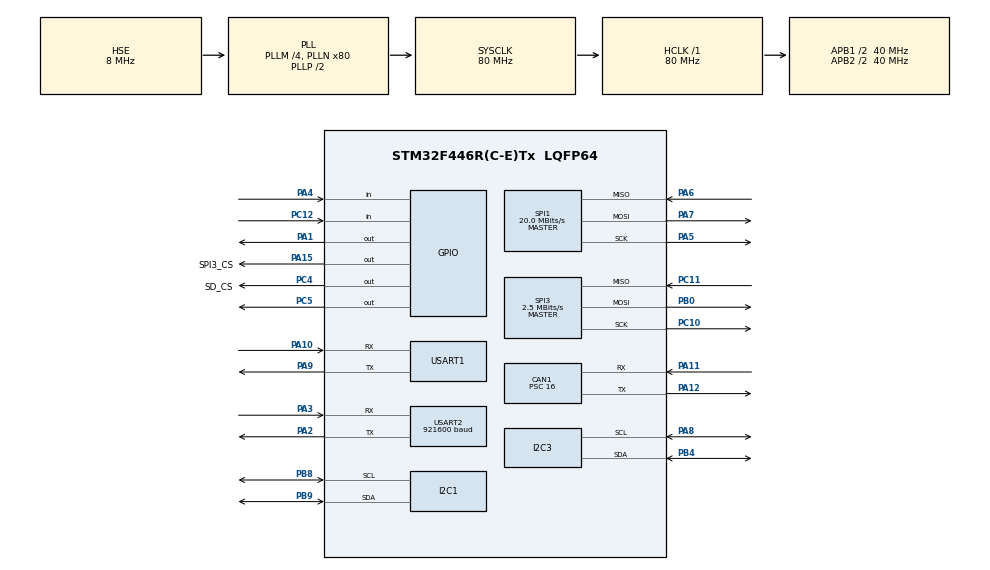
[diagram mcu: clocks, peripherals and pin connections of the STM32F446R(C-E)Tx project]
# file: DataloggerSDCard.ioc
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CAN1.BS1=CAN_BS1_3TQ
CAN1.CalculateBaudRate=500000
CAN1.CalculateTimeBit=2000
CAN1.CalculateTimeQuantum=400.0
CAN1.Mode=CAN_MODE_NORMAL
CAN1.Prescaler=16
CAN1.TTCM=DISABLE
FATFS._MAX_SS=4096
FATFS._USE_LFN=1
Mcu.Family=STM32F4
Mcu.Name=STM32F446R(C-E)Tx
Mcu.Package=LQFP64
NVIC.CAN1_RX0_IRQn=true\:0\:0\:false\:false\:true\:true\:true\:true
NVIC.CAN1_RX1_IRQn=true\:0\:0\:false\:false\:true\:true\:true\:true
NVIC.PriorityGroup=NVIC_PRIORITYGROUP_4
PA1.Signal=GPIO_Output
PA10.Mode=Asynchronous
PA10.Signal=USART1_RX
PA11.Mode=CAN_Activate
PA11.Signal=CAN1_RX
PA12.Mode=CAN_Activate
PA12.Signal=CAN1_TX
PA13.Mode=Serial_Wire
PA13.Signal=SYS_JTMS-SWDIO
PA14.Mode=Serial_Wire
PA14.Signal=SYS_JTCK-SWCLK
PA15.GPIO_Label=SPI3_CS
PA15.GPIO_PuPd=GPIO_NOPULL
PA15.PinState=GPIO_PIN_SET
PA15.Signal=GPIO_Output
PA2.Mode=Asynchronous
PA2.Signal=USART2_TX
PA3.Mode=Asynchronous
PA3.Signal=USART2_RX
PA4.Signal=GPIO_Input
PA5.Mode=Full_Duplex_Master
PA5.Signal=SPI1_SCK
PA6.Mode=Full_Duplex_Master
PA6.Signal=SPI1_MISO
PA7.Mode=Full_Duplex_Master
PA7.Signal=SPI1_MOSI
PA8.Mode=I2C
PA8.Signal=I2C3_SCL
PA9.Mode=Asynchronous
PA9.Signal=USART1_TX
PB0.Mode=Full_Duplex_Master
PB0.Signal=SPI3_MOSI
PB10.Signal=SPI2_SCK
PB14.Signal=SPI2_MISO
PB4.Mode=I2C
PB4.Signal=I2C3_SDA
PB8.Mode=I2C
PB8.Signal=I2C1_SCL
PB9.Mode=I2C
PB9.Signal=I2C1_SDA
PC10.Mode=Full_Duplex_Master
PC10.Signal=SPI3_SCK
PC11.Mode=Full_Duplex_Master
PC11.Signal=SPI3_MISO
PC12.Signal=GPIO_Input
PC4.GPIO_Label=SD_CS
PC4.GPIO_Speed=GPIO_SPEED_FREQ_MEDIUM
PC4.PinState=GPIO_PIN_RESET
PC4.Signal=GPIO_Output
PC5.Signal=GPIO_Output
PH0-OSC_IN.Mode=HSE-External-Oscillator
PH0-OSC_IN.Signal=RCC_OSC_IN
PH1-OSC_OUT.Mode=HSE-External-Oscillator
PH1-OSC_OUT.Signal=RCC_OSC_OUT
ProjectManager.HeapSize=0x400
ProjectManager.StackSize=0x400
ProjectManager.TargetToolchain=STM32CubeIDE
RCC.AHBFreq_Value=80000000
RCC.APB1CLKDivider=RCC_HCLK_DIV2
RCC.APB1Freq_Value=40000000
RCC.APB1TimFreq_Value=80000000
RCC.APB2CLKDivider=RCC_HCLK_DIV2
RCC.APB2Freq_Value=40000000
RCC.APB2TimFreq_Value=80000000
RCC.CortexFreq_Value=80000000
RCC.HCLKFreq_Value=80000000
RCC.HSE_VALUE=8000000
RCC.PLLM=4
RCC.PLLN=80
RCC.PLLSourceVirtual=RCC_PLLSOURCE_HSE
RCC.SYSCLKFreq_VALUE=80000000
RCC.SYSCLKSource=RCC_SYSCLKSOURCE_PLLCLK
RCC.USBFreq_Value=80000000
RCC.VCOOutputFreq_Value=160000000
SPI1.CalculateBaudRate=20.0 MBits/s
SPI1.Direction=SPI_DIRECTION_2LINES
SPI1.Mode=SPI_MODE_MASTER
SPI1.VirtualType=VM_MASTER
SPI3.BaudRatePrescaler=SPI_BAUDRATEPRESCALER_16
SPI3.CalculateBaudRate=2.5 MBits/s
SPI3.DataSize=SPI_DATASIZE_8BIT
SPI3.Direction=SPI_DIRECTION_2LINES
SPI3.Mode=SPI_MODE_MASTER
SPI3.VirtualType=VM_MASTER
USART1.VirtualMode=VM_ASYNC
USART2.BaudRate=921600
USART2.VirtualMode=VM_ASYNC
VP_FATFS_VS_Generic.Mode=User_defined
board=custom

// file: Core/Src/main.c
/* USER CODE BEGIN Header */
/**
  ******************************************************************************
  * @file           : main.c
  * @brief          : Main program body
  ******************************************************************************
  * @attention
  *
  * Copyright (c) 2023 STMicroelectronics.
  * All rights reserved.
  *
  * This software is licensed under terms that can be found in the LICENSE file
  * in the root directory of this software component.
  * If no LICENSE file comes with this software, it is provided AS-IS.
  *
  *
  *SD CARD PINOUTS
  *SCK - PA5
  *MISO - PA6
  *MOSI - PA7
  *CS - PC4
  *CAN TX - PA12
  *CAN RX - PA11
  ******************************************************************************
  */
/* USER CODE END Header */
#include "main.h"
#include "fatfs.h"

/* USER CODE BEGIN Includes */
#include <string.h>
#include <stdio.h>
#include <stdbool.h>
#include "FEB_CircularBuffer.h"
/* USER CODE END Includes */

CAN_HandleTypeDef hcan1;

I2C_HandleTypeDef hi2c1;
I2C_HandleTypeDef hi2c3;

SPI_HandleTypeDef hspi1;
SPI_HandleTypeDef hspi3;

UART_HandleTypeDef huart1;
UART_HandleTypeDef huart2;

void SystemClock_Config(void);
static void MX_GPIO_Init(void);
static void MX_USART2_UART_Init(void);
static void MX_CAN1_Init(void);
static void MX_I2C3_Init(void);
static void MX_USART1_UART_Init(void);
static void MX_SPI3_Init(void);
static void MX_SPI1_Init(void);
static void MX_I2C1_Init(void);

/* USER CODE BEGIN 0 */

circBuffer sdBuffer;
circBuffer uartBuffer;

static TPS2482_Configuration tps2482_configurations[1];
uint8_t tps2482_i2c_addresses[1];
static uint16_t tps2482_ids[1];

static void FEB_Variable_Init(void) {
	tps2482_i2c_addresses[0] = TPS2482_I2C_ADDR(TPS2482_I2C_ADDR_GND, TPS2482_I2C_ADDR_GND);
	tps2482_configurations[0].config = TPS2482_CONFIG_DEFAULT;
	tps2482_configurations[0].mask = TPS2482_MASK_SOL;
	tps2482_configurations[0].cal = TPS2482_CAL_EQ(TPS2482_CURRENT_LSB_EQ((double)(5)),(double)(.012));
}

/* USER CODE END 0 */

int main(void)
{

  /* MCU Configuration--------------------------------------------------------*/

  /* Reset of all peripherals, Initializes the Flash interface and the Systick. */
  HAL_Init();

  /* Configure the system clock */
  SystemClock_Config();

  /* Initialize all configured peripherals */
  MX_GPIO_Init();
  MX_FATFS_Init();
  MX_USART2_UART_Init();
  MX_CAN1_Init();
  MX_I2C3_Init();
  MX_USART1_UART_Init();
  MX_SPI3_Init();
  MX_SPI1_Init();
  MX_I2C1_Init();
  /* USER CODE BEGIN 2 */

  // Initialize SD card once
  FEB_circBuf_sdcard_init();

  // Initialize buffer structures
  FEB_circBuf_init(&sdBuffer);
  FEB_circBuf_init(&uartBuffer);
  FEB_CAN_Init();

//FEB_CAN_HEARTBEAT_Init();
//
//FEB_Variable_Init();
//bool tps2482_init_res[1];
//TPS2482_Init(&hi2c1, tps2482_i2c_addresses, tps2482_configurations, tps2482_ids, tps2482_init_res, 1);

  /* USER CODE END 2 */

  /* Infinite loop */
  /* USER CODE BEGIN WHILE */

while (1)
{
    // Print CSV data to UART
    FEB_circBuf_print_uart(&uartBuffer);

    // Write to SD Card
    FEB_circBuf_read(&sdBuffer);
}

    /* USER CODE END WHILE */

}

void SystemClock_Config(void)
{
  RCC_OscInitTypeDef RCC_OscInitStruct = {0};
  RCC_ClkInitTypeDef RCC_ClkInitStruct = {0};

  /** Configure the main internal regulator output voltage
  */
  __HAL_RCC_PWR_CLK_ENABLE();
  __HAL_PWR_VOLTAGESCALING_CONFIG(PWR_REGULATOR_VOLTAGE_SCALE3);

  /** Initializes the RCC Oscillators according to the specified parameters
  * in the RCC_OscInitTypeDef structure.
  */
  RCC_OscInitStruct.OscillatorType = RCC_OSCILLATORTYPE_HSE;
  RCC_OscInitStruct.HSEState = RCC_HSE_ON;
  RCC_OscInitStruct.PLL.PLLState = RCC_PLL_ON;
  RCC_OscInitStruct.PLL.PLLSource = RCC_PLLSOURCE_HSE;
  RCC_OscInitStruct.PLL.PLLM = 4;
  RCC_OscInitStruct.PLL.PLLN = 80;
  RCC_OscInitStruct.PLL.PLLP = RCC_PLLP_DIV2;
  RCC_OscInitStruct.PLL.PLLQ = 2;
  RCC_OscInitStruct.PLL.PLLR = 2;
  if (HAL_RCC_OscConfig(&RCC_OscInitStruct) != HAL_OK)
  {
    Error_Handler();
  }

  /** Initializes the CPU, AHB and APB buses clocks
  */
  RCC_ClkInitStruct.ClockType = RCC_CLOCKTYPE_HCLK|RCC_CLOCKTYPE_SYSCLK
                              |RCC_CLOCKTYPE_PCLK1|RCC_CLOCKTYPE_PCLK2;
  RCC_ClkInitStruct.SYSCLKSource = RCC_SYSCLKSOURCE_PLLCLK;
  RCC_ClkInitStruct.AHBCLKDivider = RCC_SYSCLK_DIV1;
  RCC_ClkInitStruct.APB1CLKDivider = RCC_HCLK_DIV2;
  RCC_ClkInitStruct.APB2CLKDivider = RCC_HCLK_DIV2;

  if (HAL_RCC_ClockConfig(&RCC_ClkInitStruct, FLASH_LATENCY_2) != HAL_OK)
  {
    Error_Handler();
  }
}

static void MX_CAN1_Init(void)
{

  hcan1.Instance = CAN1;
  hcan1.Init.Prescaler = 16;
  hcan1.Init.Mode = CAN_MODE_NORMAL;
  hcan1.Init.SyncJumpWidth = CAN_SJW_1TQ;
  hcan1.Init.TimeSeg1 = CAN_BS1_3TQ;
  hcan1.Init.TimeSeg2 = CAN_BS2_1TQ;
  hcan1.Init.TimeTriggeredMode = DISABLE;
  hcan1.Init.AutoBusOff = DISABLE;
  hcan1.Init.AutoWakeUp = DISABLE;
  hcan1.Init.AutoRetransmission = DISABLE;
  hcan1.Init.ReceiveFifoLocked = DISABLE;
  hcan1.Init.TransmitFifoPriority = DISABLE;
  if (HAL_CAN_Init(&hcan1) != HAL_OK)
  {
    Error_Handler();
  }

}

static void MX_I2C1_Init(void)
{

  hi2c1.Instance = I2C1;
  hi2c1.Init.ClockSpeed = 100000;
  hi2c1.Init.DutyCycle = I2C_DUTYCYCLE_2;
  hi2c1.Init.OwnAddress1 = 0;
  hi2c1.Init.AddressingMode = I2C_ADDRESSINGMODE_7BIT;
  hi2c1.Init.DualAddressMode = I2C_DUALADDRESS_DISABLE;
  hi2c1.Init.OwnAddress2 = 0;
  hi2c1.Init.GeneralCallMode = I2C_GENERALCALL_DISABLE;
  hi2c1.Init.NoStretchMode = I2C_NOSTRETCH_DISABLE;
  if (HAL_I2C_Init(&hi2c1) != HAL_OK)
  {
    Error_Handler();
  }

}

static void MX_I2C3_Init(void)
{

  hi2c3.Instance = I2C3;
  hi2c3.Init.ClockSpeed = 100000;
  hi2c3.Init.DutyCycle = I2C_DUTYCYCLE_2;
  hi2c3.Init.OwnAddress1 = 0;
  hi2c3.Init.AddressingMode = I2C_ADDRESSINGMODE_7BIT;
  hi2c3.Init.DualAddressMode = I2C_DUALADDRESS_DISABLE;
  hi2c3.Init.OwnAddress2 = 0;
  hi2c3.Init.GeneralCallMode = I2C_GENERALCALL_DISABLE;
  hi2c3.Init.NoStretchMode = I2C_NOSTRETCH_DISABLE;
  if (HAL_I2C_Init(&hi2c3) != HAL_OK)
  {
    Error_Handler();
  }

}

static void MX_SPI1_Init(void)
{

  /* SPI1 parameter configuration*/
  hspi1.Instance = SPI1;
  hspi1.Init.Mode = SPI_MODE_MASTER;
  hspi1.Init.Direction = SPI_DIRECTION_2LINES;
  hspi1.Init.DataSize = SPI_DATASIZE_8BIT;
  hspi1.Init.CLKPolarity = SPI_POLARITY_LOW;
  hspi1.Init.CLKPhase = SPI_PHASE_1EDGE;
  hspi1.Init.NSS = SPI_NSS_SOFT;
  hspi1.Init.BaudRatePrescaler = SPI_BAUDRATEPRESCALER_2;
  hspi1.Init.FirstBit = SPI_FIRSTBIT_MSB;
  hspi1.Init.TIMode = SPI_TIMODE_DISABLE;
  hspi1.Init.CRCCalculation = SPI_CRCCALCULATION_DISABLE;
  hspi1.Init.CRCPolynomial = 10;
  if (HAL_SPI_Init(&hspi1) != HAL_OK)
  {
    Error_Handler();
  }

}

static void MX_SPI3_Init(void)
{

  /* SPI3 parameter configuration*/
  hspi3.Instance = SPI3;
  hspi3.Init.Mode = SPI_MODE_MASTER;
  hspi3.Init.Direction = SPI_DIRECTION_2LINES;
  hspi3.Init.DataSize = SPI_DATASIZE_8BIT;
  hspi3.Init.CLKPolarity = SPI_POLARITY_LOW;
  hspi3.Init.CLKPhase = SPI_PHASE_1EDGE;
  hspi3.Init.NSS = SPI_NSS_SOFT;
  hspi3.Init.BaudRatePrescaler = SPI_BAUDRATEPRESCALER_16;
  hspi3.Init.FirstBit = SPI_FIRSTBIT_MSB;
  hspi3.Init.TIMode = SPI_TIMODE_DISABLE;
  hspi3.Init.CRCCalculation = SPI_CRCCALCULATION_DISABLE;
  hspi3.Init.CRCPolynomial = 10;
  if (HAL_SPI_Init(&hspi3) != HAL_OK)
  {
    Error_Handler();
  }

}

static void MX_USART1_UART_Init(void)
{

  huart1.Instance = USART1;
  huart1.Init.BaudRate = 115200;
  huart1.Init.WordLength = UART_WORDLENGTH_8B;
  huart1.Init.StopBits = UART_STOPBITS_1;
  huart1.Init.Parity = UART_PARITY_NONE;
  huart1.Init.Mode = UART_MODE_TX_RX;
  huart1.Init.HwFlowCtl = UART_HWCONTROL_NONE;
  huart1.Init.OverSampling = UART_OVERSAMPLING_16;
  if (HAL_UART_Init(&huart1) != HAL_OK)
  {
    Error_Handler();
  }

}

static void MX_USART2_UART_Init(void)
{

  huart2.Instance = USART2;
  huart2.Init.BaudRate = 921600;
  huart2.Init.WordLength = UART_WORDLENGTH_8B;
  huart2.Init.StopBits = UART_STOPBITS_1;
  huart2.Init.Parity = UART_PARITY_NONE;
  huart2.Init.Mode = UART_MODE_TX_RX;
  huart2.Init.HwFlowCtl = UART_HWCONTROL_NONE;
  huart2.Init.OverSampling = UART_OVERSAMPLING_16;
  if (HAL_UART_Init(&huart2) != HAL_OK)
  {
    Error_Handler();
  }

}

static void MX_GPIO_Init(void)
{
  GPIO_InitTypeDef GPIO_InitStruct = {0};

  /* GPIO Ports Clock Enable */
  __HAL_RCC_GPIOH_CLK_ENABLE();
  __HAL_RCC_GPIOA_CLK_ENABLE();
  __HAL_RCC_GPIOC_CLK_ENABLE();
  __HAL_RCC_GPIOB_CLK_ENABLE();

  /*Configure GPIO pin Output Level */
  HAL_GPIO_WritePin(GPIOA, GPIO_PIN_1, GPIO_PIN_RESET);

  /*Configure GPIO pin Output Level */
  HAL_GPIO_WritePin(GPIOC, SD_CS_Pin|GPIO_PIN_5, GPIO_PIN_RESET);

  /*Configure GPIO pin Output Level */
  HAL_GPIO_WritePin(SPI3_CS_GPIO_Port, SPI3_CS_Pin, GPIO_PIN_SET);

  /*Configure GPIO pins : PA1 SPI3_CS_Pin */
  GPIO_InitStruct.Pin = GPIO_PIN_1|SPI3_CS_Pin;
  GPIO_InitStruct.Mode = GPIO_MODE_OUTPUT_PP;
  GPIO_InitStruct.Pull = GPIO_NOPULL;
  GPIO_InitStruct.Speed = GPIO_SPEED_FREQ_LOW;
  HAL_GPIO_Init(GPIOA, &GPIO_InitStruct);

  /*Configure GPIO pin : PA4 */
  GPIO_InitStruct.Pin = GPIO_PIN_4;
  GPIO_InitStruct.Mode = GPIO_MODE_INPUT;
  GPIO_InitStruct.Pull = GPIO_NOPULL;
  HAL_GPIO_Init(GPIOA, &GPIO_InitStruct);

  /*Configure GPIO pin : SD_CS_Pin */
  GPIO_InitStruct.Pin = SD_CS_Pin;
  GPIO_InitStruct.Mode = GPIO_MODE_OUTPUT_PP;
  GPIO_InitStruct.Pull = GPIO_NOPULL;
  GPIO_InitStruct.Speed = GPIO_SPEED_FREQ_MEDIUM;
  HAL_GPIO_Init(SD_CS_GPIO_Port, &GPIO_InitStruct);

  /*Configure GPIO pin : PC5 */
  GPIO_InitStruct.Pin = GPIO_PIN_5;
  GPIO_InitStruct.Mode = GPIO_MODE_OUTPUT_PP;
  GPIO_InitStruct.Pull = GPIO_NOPULL;
  GPIO_InitStruct.Speed = GPIO_SPEED_FREQ_LOW;
  HAL_GPIO_Init(GPIOC, &GPIO_InitStruct);

  /*Configure GPIO pins : PB10 PB14 */
  GPIO_InitStruct.Pin = GPIO_PIN_10|GPIO_PIN_14;
  GPIO_InitStruct.Mode = GPIO_MODE_AF_PP;
  GPIO_InitStruct.Pull = GPIO_NOPULL;
  GPIO_InitStruct.Speed = GPIO_SPEED_FREQ_VERY_HIGH;
  GPIO_InitStruct.Alternate = GPIO_AF5_SPI2;
  HAL_GPIO_Init(GPIOB, &GPIO_InitStruct);

  /*Configure GPIO pin : PC12 */
  GPIO_InitStruct.Pin = GPIO_PIN_12;
  GPIO_InitStruct.Mode = GPIO_MODE_INPUT;
  GPIO_InitStruct.Pull = GPIO_NOPULL;
  HAL_GPIO_Init(GPIOC, &GPIO_InitStruct);

}

void Error_Handler(void)
{
  __disable_irq();
  while (1)
  {
  }
}
